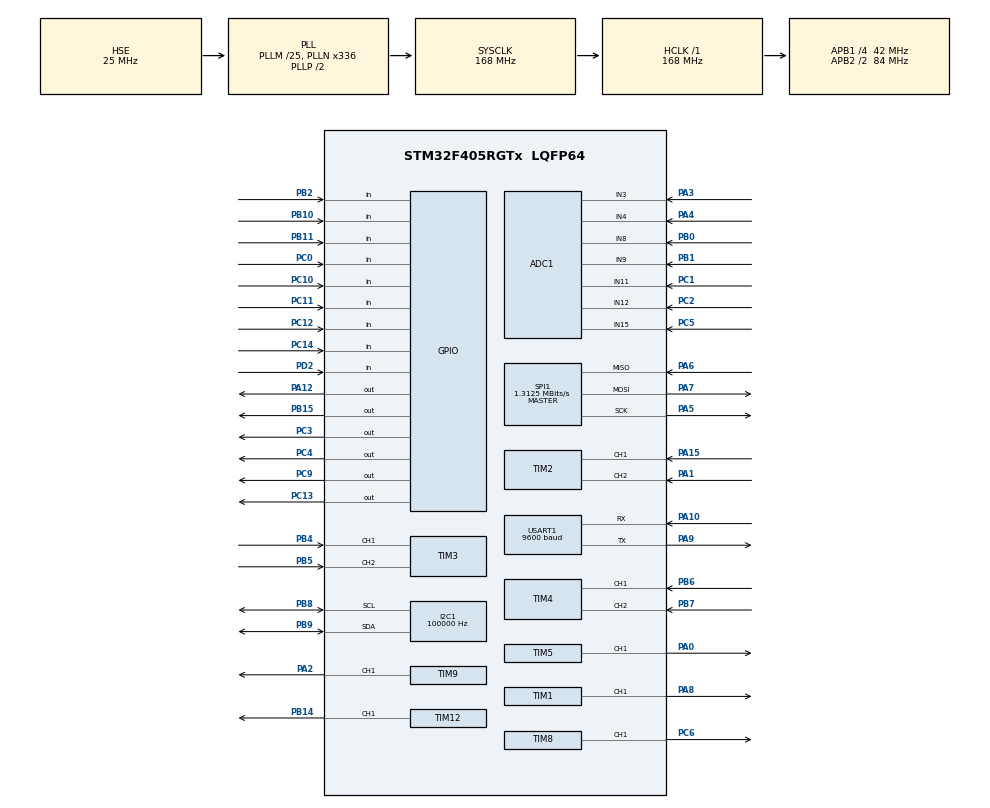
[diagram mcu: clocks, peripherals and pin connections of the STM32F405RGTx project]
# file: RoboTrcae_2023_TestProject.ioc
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ADC1.Channel-0\#ChannelRegularConversion=ADC_CHANNEL_3
ADC1.Channel-1\#ChannelRegularConversion=ADC_CHANNEL_4
ADC1.Channel-2\#ChannelRegularConversion=ADC_CHANNEL_8
ADC1.Channel-3\#ChannelRegularConversion=ADC_CHANNEL_9
ADC1.Channel-4\#ChannelRegularConversion=ADC_CHANNEL_12
ADC1.Channel-5\#ChannelRegularConversion=ADC_CHANNEL_15
ADC1.ContinuousConvMode=ENABLE
ADC1.DMAContinuousRequests=ENABLE
ADC1.NbrOfConversion=6
ADC1.NbrOfConversionFlag=1
ADC1.Rank-0\#ChannelRegularConversion=1
ADC1.Rank-1\#ChannelRegularConversion=2
ADC1.Rank-2\#ChannelRegularConversion=3
ADC1.Rank-3\#ChannelRegularConversion=4
ADC1.Rank-4\#ChannelRegularConversion=5
ADC1.Rank-5\#ChannelRegularConversion=6
ADC1.SamplingTime-0\#ChannelRegularConversion=ADC_SAMPLETIME_15CYCLES
ADC1.SamplingTime-1\#ChannelRegularConversion=ADC_SAMPLETIME_15CYCLES
ADC1.SamplingTime-2\#ChannelRegularConversion=ADC_SAMPLETIME_15CYCLES
ADC1.SamplingTime-3\#ChannelRegularConversion=ADC_SAMPLETIME_15CYCLES
ADC1.SamplingTime-4\#ChannelRegularConversion=ADC_SAMPLETIME_15CYCLES
ADC1.SamplingTime-5\#ChannelRegularConversion=ADC_SAMPLETIME_15CYCLES
ADC1.master=1
Dma.ADC1.0.Direction=DMA_PERIPH_TO_MEMORY
Dma.ADC1.0.FIFOMode=DMA_FIFOMODE_DISABLE
Dma.ADC1.0.Instance=DMA2_Stream0
Dma.ADC1.0.MemDataAlignment=DMA_MDATAALIGN_HALFWORD
Dma.ADC1.0.MemInc=DMA_MINC_ENABLE
Dma.ADC1.0.Mode=DMA_CIRCULAR
Dma.ADC1.0.PeriphDataAlignment=DMA_PDATAALIGN_HALFWORD
Dma.ADC1.0.PeriphInc=DMA_PINC_DISABLE
Dma.ADC1.0.Priority=DMA_PRIORITY_LOW
Dma.Request0=ADC1
I2C1.ClockSpeed=100000
I2C1.NoStretchMode=I2C_NOSTRETCH_ENABLE
Mcu.Family=STM32F4
Mcu.Name=STM32F405RGTx
Mcu.Package=LQFP64
NVIC.DMA2_Stream0_IRQn=true\:0\:0\:false\:false\:true\:false\:true
NVIC.PriorityGroup=NVIC_PRIORITYGROUP_4
NVIC.TIM1_BRK_TIM9_IRQn=true\:0\:0\:false\:false\:true\:true\:true
NVIC.TIM6_DAC_IRQn=true\:0\:0\:false\:false\:true\:true\:true
NVIC.TIM7_IRQn=true\:0\:0\:false\:false\:true\:true\:true
NVIC.USART1_IRQn=true\:0\:0\:false\:false\:true\:true\:true
PA0-WKUP.Signal=S_TIM5_CH1
PA1.Signal=S_TIM2_CH2
PA10.Mode=Asynchronous
PA10.Signal=USART1_RX
PA12.Signal=GPIO_Output
PA13.Mode=Trace_Asynchronous_SW
PA13.Signal=SYS_JTMS-SWDIO
PA14.Mode=Trace_Asynchronous_SW
PA14.Signal=SYS_JTCK-SWCLK
PA15.Signal=S_TIM2_CH1_ETR
PA2.Signal=S_TIM9_CH1
PA3.Signal=ADCx_IN3
PA4.Signal=ADCx_IN4
PA5.Mode=Full_Duplex_Master
PA5.Signal=SPI1_SCK
PA6.Mode=Full_Duplex_Master
PA6.Signal=SPI1_MISO
PA7.Mode=Full_Duplex_Master
PA7.Signal=SPI1_MOSI
PA8.Signal=S_TIM1_CH1
PA9.Mode=Asynchronous
PA9.Signal=USART1_TX
PB0.Signal=ADCx_IN8
PB1.Signal=ADCx_IN9
PB10.Signal=GPIO_Input
PB11.Signal=GPIO_Input
PB14.Signal=S_TIM12_CH1
PB15.Signal=GPIO_Output
PB2.Signal=GPIO_Input
PB3.Mode=Trace_Asynchronous_SW
PB3.Signal=SYS_JTDO-SWO
PB4.Signal=S_TIM3_CH1
PB5.Signal=S_TIM3_CH2
PB6.Signal=S_TIM4_CH1
PB7.Signal=S_TIM4_CH2
PB8.Mode=I2C
PB8.Signal=I2C1_SCL
PB9.Mode=I2C
PB9.Signal=I2C1_SDA
PC0.Signal=GPIO_Input
PC1.Signal=ADCx_IN11
PC10.Signal=GPIO_Input
PC11.Signal=GPIO_Input
PC12.Signal=GPIO_Input
PC13-ANTI_TAMP.Signal=GPIO_Output
PC14-OSC32_IN.Signal=GPIO_Input
PC2.Signal=ADCx_IN12
PC3.Signal=GPIO_Output
PC4.Signal=GPIO_Output
PC5.Signal=ADCx_IN15
PC6.Signal=S_TIM8_CH1
PC9.Signal=GPIO_Output
PD2.Signal=GPIO_Input
PH0-OSC_IN.Mode=HSE-External-Oscillator
PH0-OSC_IN.Signal=RCC_OSC_IN
PH1-OSC_OUT.Mode=HSE-External-Oscillator
PH1-OSC_OUT.Signal=RCC_OSC_OUT
ProjectManager.HeapSize=0x200
ProjectManager.StackSize=0x400
ProjectManager.TargetToolchain=STM32CubeIDE
RCC.48MHZClocksFreq_Value=84000000
RCC.AHBFreq_Value=168000000
RCC.APB1CLKDivider=RCC_HCLK_DIV4
RCC.APB1Freq_Value=42000000
RCC.APB1TimFreq_Value=84000000
RCC.APB2CLKDivider=RCC_HCLK_DIV2
RCC.APB2Freq_Value=84000000
RCC.APB2TimFreq_Value=168000000
RCC.CortexFreq_Value=168000000
RCC.HCLKFreq_Value=168000000
RCC.HSE_VALUE=25000000
RCC.HSI_VALUE=16000000
RCC.LSE_VALUE=32768
RCC.PLLM=25
RCC.PLLN=336
RCC.PLLSourceVirtual=RCC_PLLSOURCE_HSE
RCC.SYSCLKFreq_VALUE=168000000
RCC.SYSCLKSource=RCC_SYSCLKSOURCE_PLLCLK
RCC.VCOOutputFreq_Value=336000000
SH.ADCx_IN11.0=ADC1_IN11,IN11
SH.ADCx_IN12.0=ADC1_IN12,IN12
SH.ADCx_IN15.0=ADC1_IN15,IN15
SH.ADCx_IN3.0=ADC1_IN3,IN3
SH.ADCx_IN4.0=ADC1_IN4,IN4
SH.ADCx_IN8.0=ADC1_IN8,IN8
SH.ADCx_IN9.0=ADC1_IN9,IN9
SH.S_TIM12_CH1.0=TIM12_CH1,PWM Generation1 CH1
SH.S_TIM1_CH1.0=TIM1_CH1,PWM Generation1 CH1
SH.S_TIM2_CH1_ETR.0=TIM2_CH1,Encoder_Interface
SH.S_TIM2_CH2.0=TIM2_CH2,Encoder_Interface
SH.S_TIM3_CH1.0=TIM3_CH1,Encoder_Interface
SH.S_TIM3_CH2.0=TIM3_CH2,Encoder_Interface
SH.S_TIM4_CH1.0=TIM4_CH1,Encoder_Interface
SH.S_TIM4_CH2.0=TIM4_CH2,Encoder_Interface
SH.S_TIM5_CH1.0=TIM5_CH1,PWM Generation1 CH1
SH.S_TIM8_CH1.0=TIM8_CH1,PWM Generation1 CH1
SH.S_TIM9_CH1.0=TIM9_CH1,PWM Generation1 CH1
SPI1.BaudRatePrescaler=SPI_BAUDRATEPRESCALER_64
SPI1.CLKPhase=SPI_PHASE_2EDGE
SPI1.CLKPolarity=SPI_POLARITY_HIGH
SPI1.CalculateBaudRate=1.3125 MBits/s
SPI1.Direction=SPI_DIRECTION_2LINES
SPI1.Mode=SPI_MODE_MASTER
SPI1.VirtualType=VM_MASTER
TIM1.Channel-PWM\ Generation1\ CH1=TIM_CHANNEL_1
TIM1.Period=9
TIM1.Prescaler=83
TIM12.Channel-PWM\ Generation1\ CH1=TIM_CHANNEL_1
TIM12.Period=19
TIM12.Prescaler=41
TIM2.EncoderMode=TIM_ENCODERMODE_TI12
TIM3.EncoderMode=TIM_ENCODERMODE_TI12
TIM4.EncoderMode=TIM_ENCODERMODE_TI12
TIM5.Channel-PWM\ Generation1\ CH1=TIM_CHANNEL_1
TIM5.Period=19
TIM5.Prescaler=20
TIM6.Period=49
TIM6.Prescaler=83
TIM7.Period=499
TIM7.Prescaler=83
TIM8.Channel-PWM\ Generation1\ CH1=TIM_CHANNEL_1
TIM8.Period=9
TIM8.Prescaler=83
TIM9.Channel-PWM\ Generation1\ CH1=TIM_CHANNEL_1
TIM9.Period=19
TIM9.Prescaler=83
USART1.BaudRate=9600
USART1.VirtualMode=VM_ASYNC
VP_RTC_VS_RTC_Activate.Mode=RTC_Enabled
VP_TIM10_VS_ClockSourceINT.Mode=Enable_Timer
VP_TIM11_VS_ClockSourceINT.Mode=Enable_Timer
VP_TIM6_VS_ClockSourceINT.Mode=Enable_Timer
VP_TIM7_VS_ClockSourceINT.Mode=Enable_Timer
board=custom

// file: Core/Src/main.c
/* USER CODE BEGIN Header */
/**
  ******************************************************************************
  * @file           : main.c
  * @brief          : Main program body
  ******************************************************************************
  * @attention
  *
  * <h2><center>&copy; Copyright (c) 2023 STMicroelectronics.
  * All rights reserved.</center></h2>
  *
  * This software component is licensed by ST under BSD 3-Clause license,
  * the "License"; You may not use this file except in compliance with the
  * License. You may obtain a copy of the License at:
  *                        opensource.org/licenses/BSD-3-Clause
  *
  ******************************************************************************
  */
/* USER CODE END Header */
#include "main.h"

/* USER CODE BEGIN Includes */
#include "wrapper.h"
#include <stdio.h>
/* USER CODE END Includes */

ADC_HandleTypeDef hadc1;
DMA_HandleTypeDef hdma_adc1;

I2C_HandleTypeDef hi2c1;

RTC_HandleTypeDef hrtc;

SPI_HandleTypeDef hspi1;

TIM_HandleTypeDef htim1;
TIM_HandleTypeDef htim2;
TIM_HandleTypeDef htim3;
TIM_HandleTypeDef htim4;
TIM_HandleTypeDef htim5;
TIM_HandleTypeDef htim6;
TIM_HandleTypeDef htim7;
TIM_HandleTypeDef htim8;
TIM_HandleTypeDef htim9;
TIM_HandleTypeDef htim10;
TIM_HandleTypeDef htim11;
TIM_HandleTypeDef htim12;

UART_HandleTypeDef huart1;

void SystemClock_Config(void);
static void MX_GPIO_Init(void);
static void MX_DMA_Init(void);
static void MX_ADC1_Init(void);
static void MX_I2C1_Init(void);
static void MX_RTC_Init(void);
static void MX_SPI1_Init(void);
static void MX_TIM1_Init(void);
static void MX_TIM2_Init(void);
static void MX_TIM3_Init(void);
static void MX_TIM4_Init(void);
static void MX_TIM5_Init(void);
static void MX_TIM8_Init(void);
static void MX_TIM9_Init(void);
static void MX_TIM10_Init(void);
static void MX_TIM11_Init(void);
static void MX_TIM12_Init(void);
static void MX_USART1_UART_Init(void);
static void MX_TIM6_Init(void);
static void MX_TIM7_Init(void);
/* USER CODE BEGIN PFP */
int _write(int, char*, int);
/* USER CODE END PFP */

/* USER CODE BEGIN 0 */

const uint32_t start_address_sector10 = 0x80C0000;	//sector10 start address
const uint32_t end_address_sector10 = 0x80DFFFF;		//sector10 end address
const uint32_t start_address_sector11 = 0x80E0000;	//sector11 start address
const uint32_t end_address_sector11 = 0x80FFFFF;		//sector11 end address

WRITE_DATA_SECTOR11 write_data_sector11 = {{0}};
READ_DATA_SECTOR11 read_data_sector11 = {{0}};
WRITE_DATA_SECTOR10 write_data_sector10 = {{0}};
READ_DATA_SECTOR10 read_data_sector10 = {{0}};

int _write(int file, char *ptr, int len) {
	HAL_UART_Transmit(&huart1, (uint8_t*)ptr, len, 0xFFFF);
	return len;
}

/* USER CODE END 0 */

int main(void)
{

  /* MCU Configuration--------------------------------------------------------*/

  /* Reset of all peripherals, Initializes the Flash interface and the Systick. */
  HAL_Init();

  /* Configure the system clock */
  SystemClock_Config();

  /* Initialize all configured peripherals */
  MX_GPIO_Init();
  MX_DMA_Init();
  MX_ADC1_Init();
  MX_I2C1_Init();
  MX_RTC_Init();
  MX_SPI1_Init();
  MX_TIM1_Init();
  MX_TIM2_Init();
  MX_TIM3_Init();
  MX_TIM4_Init();
  MX_TIM5_Init();
  MX_TIM8_Init();
  MX_TIM9_Init();
  MX_TIM10_Init();
  MX_TIM11_Init();
  MX_TIM12_Init();
  MX_USART1_UART_Init();
  MX_TIM6_Init();
  MX_TIM7_Init();
  /* USER CODE BEGIN 2 */
  HAL_TIM_Base_Start_IT(&htim6);
  HAL_TIM_Base_Start_IT(&htim7);
  init();
  // reload flash data
  loadFlash(start_address_sector11, (uint8_t*)&read_data_sector11, sizeof(READ_DATA_SECTOR11));
  loadFlash(start_address_sector10, (uint8_t*)&read_data_sector10, sizeof(READ_DATA_SECTOR10));

  /* USER CODE END 2 */

  /* Infinite loop */
  /* USER CODE BEGIN WHILE */
  while (1)
  {
	  main_loop();
    /* USER CODE END WHILE */

  }
}

void SystemClock_Config(void)
{
  RCC_OscInitTypeDef RCC_OscInitStruct = {0};
  RCC_ClkInitTypeDef RCC_ClkInitStruct = {0};
  RCC_PeriphCLKInitTypeDef PeriphClkInitStruct = {0};

  /** Configure the main internal regulator output voltage
  */
  __HAL_RCC_PWR_CLK_ENABLE();
  __HAL_PWR_VOLTAGESCALING_CONFIG(PWR_REGULATOR_VOLTAGE_SCALE1);
  /** Initializes the RCC Oscillators according to the specified parameters
  * in the RCC_OscInitTypeDef structure.
  */
  RCC_OscInitStruct.OscillatorType = RCC_OSCILLATORTYPE_LSI|RCC_OSCILLATORTYPE_HSE;
  RCC_OscInitStruct.HSEState = RCC_HSE_ON;
  RCC_OscInitStruct.LSIState = RCC_LSI_ON;
  RCC_OscInitStruct.PLL.PLLState = RCC_PLL_ON;
  RCC_OscInitStruct.PLL.PLLSource = RCC_PLLSOURCE_HSE;
  RCC_OscInitStruct.PLL.PLLM = 25;
  RCC_OscInitStruct.PLL.PLLN = 336;
  RCC_OscInitStruct.PLL.PLLP = RCC_PLLP_DIV2;
  RCC_OscInitStruct.PLL.PLLQ = 4;
  if (HAL_RCC_OscConfig(&RCC_OscInitStruct) != HAL_OK)
  {
    Error_Handler();
  }
  /** Initializes the CPU, AHB and APB buses clocks
  */
  RCC_ClkInitStruct.ClockType = RCC_CLOCKTYPE_HCLK|RCC_CLOCKTYPE_SYSCLK
                              |RCC_CLOCKTYPE_PCLK1|RCC_CLOCKTYPE_PCLK2;
  RCC_ClkInitStruct.SYSCLKSource = RCC_SYSCLKSOURCE_PLLCLK;
  RCC_ClkInitStruct.AHBCLKDivider = RCC_SYSCLK_DIV1;
  RCC_ClkInitStruct.APB1CLKDivider = RCC_HCLK_DIV4;
  RCC_ClkInitStruct.APB2CLKDivider = RCC_HCLK_DIV2;

  if (HAL_RCC_ClockConfig(&RCC_ClkInitStruct, FLASH_LATENCY_5) != HAL_OK)
  {
    Error_Handler();
  }
  PeriphClkInitStruct.PeriphClockSelection = RCC_PERIPHCLK_RTC;
  PeriphClkInitStruct.RTCClockSelection = RCC_RTCCLKSOURCE_LSI;
  if (HAL_RCCEx_PeriphCLKConfig(&PeriphClkInitStruct) != HAL_OK)
  {
    Error_Handler();
  }
}

static void MX_ADC1_Init(void)
{

  ADC_ChannelConfTypeDef sConfig = {0};

  /** Configure the global features of the ADC (Clock, Resolution, Data Alignment and number of conversion)
  */
  hadc1.Instance = ADC1;
  hadc1.Init.ClockPrescaler = ADC_CLOCK_SYNC_PCLK_DIV4;
  hadc1.Init.Resolution = ADC_RESOLUTION_12B;
  hadc1.Init.ScanConvMode = ENABLE;
  hadc1.Init.ContinuousConvMode = ENABLE;
  hadc1.Init.DiscontinuousConvMode = DISABLE;
  hadc1.Init.ExternalTrigConvEdge = ADC_EXTERNALTRIGCONVEDGE_NONE;
  hadc1.Init.ExternalTrigConv = ADC_SOFTWARE_START;
  hadc1.Init.DataAlign = ADC_DATAALIGN_RIGHT;
  hadc1.Init.NbrOfConversion = 6;
  hadc1.Init.DMAContinuousRequests = ENABLE;
  hadc1.Init.EOCSelection = ADC_EOC_SINGLE_CONV;
  if (HAL_ADC_Init(&hadc1) != HAL_OK)
  {
    Error_Handler();
  }
  /** Configure for the selected ADC regular channel its corresponding rank in the sequencer and its sample time.
  */
  sConfig.Channel = ADC_CHANNEL_3;
  sConfig.Rank = 1;
  sConfig.SamplingTime = ADC_SAMPLETIME_15CYCLES;
  if (HAL_ADC_ConfigChannel(&hadc1, &sConfig) != HAL_OK)
  {
    Error_Handler();
  }
  /** Configure for the selected ADC regular channel its corresponding rank in the sequencer and its sample time.
  */
  sConfig.Channel = ADC_CHANNEL_4;
  sConfig.Rank = 2;
  if (HAL_ADC_ConfigChannel(&hadc1, &sConfig) != HAL_OK)
  {
    Error_Handler();
  }
  /** Configure for the selected ADC regular channel its corresponding rank in the sequencer and its sample time.
  */
  sConfig.Channel = ADC_CHANNEL_8;
  sConfig.Rank = 3;
  if (HAL_ADC_ConfigChannel(&hadc1, &sConfig) != HAL_OK)
  {
    Error_Handler();
  }
  /** Configure for the selected ADC regular channel its corresponding rank in the sequencer and its sample time.
  */
  sConfig.Channel = ADC_CHANNEL_9;
  sConfig.Rank = 4;
  if (HAL_ADC_ConfigChannel(&hadc1, &sConfig) != HAL_OK)
  {
    Error_Handler();
  }
  /** Configure for the selected ADC regular channel its corresponding rank in the sequencer and its sample time.
  */
  sConfig.Channel = ADC_CHANNEL_12;
  sConfig.Rank = 5;
  if (HAL_ADC_ConfigChannel(&hadc1, &sConfig) != HAL_OK)
  {
    Error_Handler();
  }
  /** Configure for the selected ADC regular channel its corresponding rank in the sequencer and its sample time.
  */
  sConfig.Channel = ADC_CHANNEL_15;
  sConfig.Rank = 6;
  if (HAL_ADC_ConfigChannel(&hadc1, &sConfig) != HAL_OK)
  {
    Error_Handler();
  }

}

static void MX_I2C1_Init(void)
{

  hi2c1.Instance = I2C1;
  hi2c1.Init.ClockSpeed = 100000;
  hi2c1.Init.DutyCycle = I2C_DUTYCYCLE_2;
  hi2c1.Init.OwnAddress1 = 0;
  hi2c1.Init.AddressingMode = I2C_ADDRESSINGMODE_7BIT;
  hi2c1.Init.DualAddressMode = I2C_DUALADDRESS_DISABLE;
  hi2c1.Init.OwnAddress2 = 0;
  hi2c1.Init.GeneralCallMode = I2C_GENERALCALL_DISABLE;
  hi2c1.Init.NoStretchMode = I2C_NOSTRETCH_ENABLE;
  if (HAL_I2C_Init(&hi2c1) != HAL_OK)
  {
    Error_Handler();
  }

}

static void MX_RTC_Init(void)
{

  /** Initialize RTC Only
  */
  hrtc.Instance = RTC;
  hrtc.Init.HourFormat = RTC_HOURFORMAT_24;
  hrtc.Init.AsynchPrediv = 127;
  hrtc.Init.SynchPrediv = 255;
  hrtc.Init.OutPut = RTC_OUTPUT_DISABLE;
  hrtc.Init.OutPutPolarity = RTC_OUTPUT_POLARITY_HIGH;
  hrtc.Init.OutPutType = RTC_OUTPUT_TYPE_OPENDRAIN;
  if (HAL_RTC_Init(&hrtc) != HAL_OK)
  {
    Error_Handler();
  }

}

static void MX_SPI1_Init(void)
{

  /* SPI1 parameter configuration*/
  hspi1.Instance = SPI1;
  hspi1.Init.Mode = SPI_MODE_MASTER;
  hspi1.Init.Direction = SPI_DIRECTION_2LINES;
  hspi1.Init.DataSize = SPI_DATASIZE_8BIT;
  hspi1.Init.CLKPolarity = SPI_POLARITY_HIGH;
  hspi1.Init.CLKPhase = SPI_PHASE_2EDGE;
  hspi1.Init.NSS = SPI_NSS_SOFT;
  hspi1.Init.BaudRatePrescaler = SPI_BAUDRATEPRESCALER_64;
  hspi1.Init.FirstBit = SPI_FIRSTBIT_MSB;
  hspi1.Init.TIMode = SPI_TIMODE_DISABLE;
  hspi1.Init.CRCCalculation = SPI_CRCCALCULATION_DISABLE;
  hspi1.Init.CRCPolynomial = 10;
  if (HAL_SPI_Init(&hspi1) != HAL_OK)
  {
    Error_Handler();
  }

}

static void MX_TIM1_Init(void)
{

  TIM_MasterConfigTypeDef sMasterConfig = {0};
  TIM_OC_InitTypeDef sConfigOC = {0};
  TIM_BreakDeadTimeConfigTypeDef sBreakDeadTimeConfig = {0};

  htim1.Instance = TIM1;
  htim1.Init.Prescaler = 83;
  htim1.Init.CounterMode = TIM_COUNTERMODE_UP;
  htim1.Init.Period = 9;
  htim1.Init.ClockDivision = TIM_CLOCKDIVISION_DIV1;
  htim1.Init.RepetitionCounter = 0;
  htim1.Init.AutoReloadPreload = TIM_AUTORELOAD_PRELOAD_DISABLE;
  if (HAL_TIM_PWM_Init(&htim1) != HAL_OK)
  {
    Error_Handler();
  }
  sMasterConfig.MasterOutputTrigger = TIM_TRGO_RESET;
  sMasterConfig.MasterSlaveMode = TIM_MASTERSLAVEMODE_DISABLE;
  if (HAL_TIMEx_MasterConfigSynchronization(&htim1, &sMasterConfig) != HAL_OK)
  {
    Error_Handler();
  }
  sConfigOC.OCMode = TIM_OCMODE_PWM1;
  sConfigOC.Pulse = 0;
  sConfigOC.OCPolarity = TIM_OCPOLARITY_HIGH;
  sConfigOC.OCNPolarity = TIM_OCNPOLARITY_HIGH;
  sConfigOC.OCFastMode = TIM_OCFAST_DISABLE;
  sConfigOC.OCIdleState = TIM_OCIDLESTATE_RESET;
  sConfigOC.OCNIdleState = TIM_OCNIDLESTATE_RESET;
  if (HAL_TIM_PWM_ConfigChannel(&htim1, &sConfigOC, TIM_CHANNEL_1) != HAL_OK)
  {
    Error_Handler();
  }
  sBreakDeadTimeConfig.OffStateRunMode = TIM_OSSR_DISABLE;
  sBreakDeadTimeConfig.OffStateIDLEMode = TIM_OSSI_DISABLE;
  sBreakDeadTimeConfig.LockLevel = TIM_LOCKLEVEL_OFF;
  sBreakDeadTimeConfig.DeadTime = 0;
  sBreakDeadTimeConfig.BreakState = TIM_BREAK_DISABLE;
  sBreakDeadTimeConfig.BreakPolarity = TIM_BREAKPOLARITY_HIGH;
  sBreakDeadTimeConfig.AutomaticOutput = TIM_AUTOMATICOUTPUT_DISABLE;
  if (HAL_TIMEx_ConfigBreakDeadTime(&htim1, &sBreakDeadTimeConfig) != HAL_OK)
  {
    Error_Handler();
  }
  HAL_TIM_MspPostInit(&htim1);

}

static void MX_TIM2_Init(void)
{

  TIM_Encoder_InitTypeDef sConfig = {0};
  TIM_MasterConfigTypeDef sMasterConfig = {0};

  htim2.Instance = TIM2;
  htim2.Init.Prescaler = 0;
  htim2.Init.CounterMode = TIM_COUNTERMODE_UP;
  htim2.Init.Period = 4294967295;
  htim2.Init.ClockDivision = TIM_CLOCKDIVISION_DIV1;
  htim2.Init.AutoReloadPreload = TIM_AUTORELOAD_PRELOAD_DISABLE;
  sConfig.EncoderMode = TIM_ENCODERMODE_TI12;
  sConfig.IC1Polarity = TIM_ICPOLARITY_RISING;
  sConfig.IC1Selection = TIM_ICSELECTION_DIRECTTI;
  sConfig.IC1Prescaler = TIM_ICPSC_DIV1;
  sConfig.IC1Filter = 0;
  sConfig.IC2Polarity = TIM_ICPOLARITY_RISING;
  sConfig.IC2Selection = TIM_ICSELECTION_DIRECTTI;
  sConfig.IC2Prescaler = TIM_ICPSC_DIV1;
  sConfig.IC2Filter = 0;
  if (HAL_TIM_Encoder_Init(&htim2, &sConfig) != HAL_OK)
  {
    Error_Handler();
  }
  sMasterConfig.MasterOutputTrigger = TIM_TRGO_RESET;
  sMasterConfig.MasterSlaveMode = TIM_MASTERSLAVEMODE_DISABLE;
  if (HAL_TIMEx_MasterConfigSynchronization(&htim2, &sMasterConfig) != HAL_OK)
  {
    Error_Handler();
  }

}

static void MX_TIM3_Init(void)
{

  TIM_Encoder_InitTypeDef sConfig = {0};
  TIM_MasterConfigTypeDef sMasterConfig = {0};

  htim3.Instance = TIM3;
  htim3.Init.Prescaler = 0;
  htim3.Init.CounterMode = TIM_COUNTERMODE_UP;
  htim3.Init.Period = 65535;
  htim3.Init.ClockDivision = TIM_CLOCKDIVISION_DIV1;
  htim3.Init.AutoReloadPreload = TIM_AUTORELOAD_PRELOAD_DISABLE;
  sConfig.EncoderMode = TIM_ENCODERMODE_TI12;
  sConfig.IC1Polarity = TIM_ICPOLARITY_RISING;
  sConfig.IC1Selection = TIM_ICSELECTION_DIRECTTI;
  sConfig.IC1Prescaler = TIM_ICPSC_DIV1;
  sConfig.IC1Filter = 0;
  sConfig.IC2Polarity = TIM_ICPOLARITY_RISING;
  sConfig.IC2Selection = TIM_ICSELECTION_DIRECTTI;
  sConfig.IC2Prescaler = TIM_ICPSC_DIV1;
  sConfig.IC2Filter = 0;
  if (HAL_TIM_Encoder_Init(&htim3, &sConfig) != HAL_OK)
  {
    Error_Handler();
  }
  sMasterConfig.MasterOutputTrigger = TIM_TRGO_RESET;
  sMasterConfig.MasterSlaveMode = TIM_MASTERSLAVEMODE_DISABLE;
  if (HAL_TIMEx_MasterConfigSynchronization(&htim3, &sMasterConfig) != HAL_OK)
  {
    Error_Handler();
  }

}

static void MX_TIM4_Init(void)
{

  TIM_Encoder_InitTypeDef sConfig = {0};
  TIM_MasterConfigTypeDef sMasterConfig = {0};

  htim4.Instance = TIM4;
  htim4.Init.Prescaler = 0;
  htim4.Init.CounterMode = TIM_COUNTERMODE_UP;
  htim4.Init.Period = 65535;
  htim4.Init.ClockDivision = TIM_CLOCKDIVISION_DIV1;
  htim4.Init.AutoReloadPreload = TIM_AUTORELOAD_PRELOAD_DISABLE;
  sConfig.EncoderMode = TIM_ENCODERMODE_TI12;
  sConfig.IC1Polarity = TIM_ICPOLARITY_RISING;
  sConfig.IC1Selection = TIM_ICSELECTION_DIRECTTI;
  sConfig.IC1Prescaler = TIM_ICPSC_DIV1;
  sConfig.IC1Filter = 0;
  sConfig.IC2Polarity = TIM_ICPOLARITY_RISING;
  sConfig.IC2Selection = TIM_ICSELECTION_DIRECTTI;
  sConfig.IC2Prescaler = TIM_ICPSC_DIV1;
  sConfig.IC2Filter = 0;
  if (HAL_TIM_Encoder_Init(&htim4, &sConfig) != HAL_OK)
  {
    Error_Handler();
  }
  sMasterConfig.MasterOutputTrigger = TIM_TRGO_RESET;
  sMasterConfig.MasterSlaveMode = TIM_MASTERSLAVEMODE_DISABLE;
  if (HAL_TIMEx_MasterConfigSynchronization(&htim4, &sMasterConfig) != HAL_OK)
  {
    Error_Handler();
  }

}

static void MX_TIM5_Init(void)
{

  TIM_MasterConfigTypeDef sMasterConfig = {0};
  TIM_OC_InitTypeDef sConfigOC = {0};

  htim5.Instance = TIM5;
  htim5.Init.Prescaler = 20;
  htim5.Init.CounterMode = TIM_COUNTERMODE_UP;
  htim5.Init.Period = 19;
  htim5.Init.ClockDivision = TIM_CLOCKDIVISION_DIV1;
  htim5.Init.AutoReloadPreload = TIM_AUTORELOAD_PRELOAD_DISABLE;
  if (HAL_TIM_PWM_Init(&htim5) != HAL_OK)
  {
    Error_Handler();
  }
  sMasterConfig.MasterOutputTrigger = TIM_TRGO_RESET;
  sMasterConfig.MasterSlaveMode = TIM_MASTERSLAVEMODE_DISABLE;
  if (HAL_TIMEx_MasterConfigSynchronization(&htim5, &sMasterConfig) != HAL_OK)
  {
    Error_Handler();
  }
  sConfigOC.OCMode = TIM_OCMODE_PWM1;
  sConfigOC.Pulse = 0;
  sConfigOC.OCPolarity = TIM_OCPOLARITY_HIGH;
  sConfigOC.OCFastMode = TIM_OCFAST_DISABLE;
  if (HAL_TIM_PWM_ConfigChannel(&htim5, &sConfigOC, TIM_CHANNEL_1) != HAL_OK)
  {
    Error_Handler();
  }
  HAL_TIM_MspPostInit(&htim5);

}

static void MX_TIM6_Init(void)
{

  TIM_MasterConfigTypeDef sMasterConfig = {0};

  htim6.Instance = TIM6;
  htim6.Init.Prescaler = 83;
  htim6.Init.CounterMode = TIM_COUNTERMODE_UP;
  htim6.Init.Period = 49;
  htim6.Init.AutoReloadPreload = TIM_AUTORELOAD_PRELOAD_DISABLE;
  if (HAL_TIM_Base_Init(&htim6) != HAL_OK)
  {
    Error_Handler();
  }
  sMasterConfig.MasterOutputTrigger = TIM_TRGO_RESET;
  sMasterConfig.MasterSlaveMode = TIM_MASTERSLAVEMODE_DISABLE;
  if (HAL_TIMEx_MasterConfigSynchronization(&htim6, &sMasterConfig) != HAL_OK)
  {
    Error_Handler();
  }

}

static void MX_TIM7_Init(void)
{

  TIM_MasterConfigTypeDef sMasterConfig = {0};

  htim7.Instance = TIM7;
  htim7.Init.Prescaler = 83;
  htim7.Init.CounterMode = TIM_COUNTERMODE_UP;
  htim7.Init.Period = 499;
  htim7.Init.AutoReloadPreload = TIM_AUTORELOAD_PRELOAD_DISABLE;
  if (HAL_TIM_Base_Init(&htim7) != HAL_OK)
  {
    Error_Handler();
  }
  sMasterConfig.MasterOutputTrigger = TIM_TRGO_RESET;
  sMasterConfig.MasterSlaveMode = TIM_MASTERSLAVEMODE_DISABLE;
  if (HAL_TIMEx_MasterConfigSynchronization(&htim7, &sMasterConfig) != HAL_OK)
  {
    Error_Handler();
  }

}

static void MX_TIM8_Init(void)
{

  TIM_MasterConfigTypeDef sMasterConfig = {0};
  TIM_OC_InitTypeDef sConfigOC = {0};
  TIM_BreakDeadTimeConfigTypeDef sBreakDeadTimeConfig = {0};

  htim8.Instance = TIM8;
  htim8.Init.Prescaler = 83;
  htim8.Init.CounterMode = TIM_COUNTERMODE_UP;
  htim8.Init.Period = 9;
  htim8.Init.ClockDivision = TIM_CLOCKDIVISION_DIV1;
  htim8.Init.RepetitionCounter = 0;
  htim8.Init.AutoReloadPreload = TIM_AUTORELOAD_PRELOAD_DISABLE;
  if (HAL_TIM_PWM_Init(&htim8) != HAL_OK)
  {
    Error_Handler();
  }
  sMasterConfig.MasterOutputTrigger = TIM_TRGO_RESET;
  sMasterConfig.MasterSlaveMode = TIM_MASTERSLAVEMODE_DISABLE;
  if (HAL_TIMEx_MasterConfigSynchronization(&htim8, &sMasterConfig) != HAL_OK)
  {
    Error_Handler();
  }
  sConfigOC.OCMode = TIM_OCMODE_PWM1;
  sConfigOC.Pulse = 0;
  sConfigOC.OCPolarity = TIM_OCPOLARITY_HIGH;
  sConfigOC.OCNPolarity = TIM_OCNPOLARITY_HIGH;
  sConfigOC.OCFastMode = TIM_OCFAST_DISABLE;
  sConfigOC.OCIdleState = TIM_OCIDLESTATE_RESET;
  sConfigOC.OCNIdleState = TIM_OCNIDLESTATE_RESET;
  if (HAL_TIM_PWM_ConfigChannel(&htim8, &sConfigOC, TIM_CHANNEL_1) != HAL_OK)
  {
    Error_Handler();
  }
  sBreakDeadTimeConfig.OffStateRunMode = TIM_OSSR_DISABLE;
  sBreakDeadTimeConfig.OffStateIDLEMode = TIM_OSSI_DISABLE;
  sBreakDeadTimeConfig.LockLevel = TIM_LOCKLEVEL_OFF;
  sBreakDeadTimeConfig.DeadTime = 0;
  sBreakDeadTimeConfig.BreakState = TIM_BREAK_DISABLE;
  sBreakDeadTimeConfig.BreakPolarity = TIM_BREAKPOLARITY_HIGH;
  sBreakDeadTimeConfig.AutomaticOutput = TIM_AUTOMATICOUTPUT_DISABLE;
  if (HAL_TIMEx_ConfigBreakDeadTime(&htim8, &sBreakDeadTimeConfig) != HAL_OK)
  {
    Error_Handler();
  }
  HAL_TIM_MspPostInit(&htim8);

}

static void MX_TIM9_Init(void)
{

  TIM_OC_InitTypeDef sConfigOC = {0};

  htim9.Instance = TIM9;
  htim9.Init.Prescaler = 83;
  htim9.Init.CounterMode = TIM_COUNTERMODE_UP;
  htim9.Init.Period = 19;
  htim9.Init.ClockDivision = TIM_CLOCKDIVISION_DIV1;
  htim9.Init.AutoReloadPreload = TIM_AUTORELOAD_PRELOAD_DISABLE;
  if (HAL_TIM_PWM_Init(&htim9) != HAL_OK)
  {
    Error_Handler();
  }
  sConfigOC.OCMode = TIM_OCMODE_PWM1;
  sConfigOC.Pulse = 0;
  sConfigOC.OCPolarity = TIM_OCPOLARITY_HIGH;
  sConfigOC.OCFastMode = TIM_OCFAST_DISABLE;
  if (HAL_TIM_PWM_ConfigChannel(&htim9, &sConfigOC, TIM_CHANNEL_1) != HAL_OK)
  {
    Error_Handler();
  }
  HAL_TIM_MspPostInit(&htim9);

}

static void MX_TIM10_Init(void)
{

  htim10.Instance = TIM10;
  htim10.Init.Prescaler = 0;
  htim10.Init.CounterMode = TIM_COUNTERMODE_UP;
  htim10.Init.Period = 65535;
  htim10.Init.ClockDivision = TIM_CLOCKDIVISION_DIV1;
  htim10.Init.AutoReloadPreload = TIM_AUTORELOAD_PRELOAD_DISABLE;
  if (HAL_TIM_Base_Init(&htim10) != HAL_OK)
  {
    Error_Handler();
  }

}

static void MX_TIM11_Init(void)
{

  htim11.Instance = TIM11;
  htim11.Init.Prescaler = 0;
  htim11.Init.CounterMode = TIM_COUNTERMODE_UP;
  htim11.Init.Period = 65535;
  htim11.Init.ClockDivision = TIM_CLOCKDIVISION_DIV1;
  htim11.Init.AutoReloadPreload = TIM_AUTORELOAD_PRELOAD_DISABLE;
  if (HAL_TIM_Base_Init(&htim11) != HAL_OK)
  {
    Error_Handler();
  }

}

static void MX_TIM12_Init(void)
{

  TIM_OC_InitTypeDef sConfigOC = {0};

  htim12.Instance = TIM12;
  htim12.Init.Prescaler = 41;
  htim12.Init.CounterMode = TIM_COUNTERMODE_UP;
  htim12.Init.Period = 19;
  htim12.Init.ClockDivision = TIM_CLOCKDIVISION_DIV1;
  htim12.Init.AutoReloadPreload = TIM_AUTORELOAD_PRELOAD_DISABLE;
  if (HAL_TIM_PWM_Init(&htim12) != HAL_OK)
  {
    Error_Handler();
  }
  sConfigOC.OCMode = TIM_OCMODE_PWM1;
  sConfigOC.Pulse = 0;
  sConfigOC.OCPolarity = TIM_OCPOLARITY_HIGH;
  sConfigOC.OCFastMode = TIM_OCFAST_DISABLE;
  if (HAL_TIM_PWM_ConfigChannel(&htim12, &sConfigOC, TIM_CHANNEL_1) != HAL_OK)
  {
    Error_Handler();
  }
  HAL_TIM_MspPostInit(&htim12);

}

static void MX_USART1_UART_Init(void)
{

  huart1.Instance = USART1;
  huart1.Init.BaudRate = 9600;
  huart1.Init.WordLength = UART_WORDLENGTH_8B;
  huart1.Init.StopBits = UART_STOPBITS_1;
  huart1.Init.Parity = UART_PARITY_NONE;
  huart1.Init.Mode = UART_MODE_TX_RX;
  huart1.Init.HwFlowCtl = UART_HWCONTROL_NONE;
  huart1.Init.OverSampling = UART_OVERSAMPLING_16;
  if (HAL_UART_Init(&huart1) != HAL_OK)
  {
    Error_Handler();
  }

}

static void MX_DMA_Init(void)
{

  /* DMA controller clock enable */
  __HAL_RCC_DMA2_CLK_ENABLE();

  /* DMA interrupt init */
  /* DMA2_Stream0_IRQn interrupt configuration */
  HAL_NVIC_SetPriority(DMA2_Stream0_IRQn, 0, 0);
  HAL_NVIC_EnableIRQ(DMA2_Stream0_IRQn);

}

static void MX_GPIO_Init(void)
{
  GPIO_InitTypeDef GPIO_InitStruct = {0};

  /* GPIO Ports Clock Enable */
  __HAL_RCC_GPIOC_CLK_ENABLE();
  __HAL_RCC_GPIOH_CLK_ENABLE();
  __HAL_RCC_GPIOA_CLK_ENABLE();
  __HAL_RCC_GPIOB_CLK_ENABLE();
  __HAL_RCC_GPIOD_CLK_ENABLE();

  /*Configure GPIO pin Output Level */
  HAL_GPIO_WritePin(GPIOC, GPIO_PIN_13|GPIO_PIN_3|GPIO_PIN_4|GPIO_PIN_9, GPIO_PIN_RESET);

  /*Configure GPIO pin Output Level */
  HAL_GPIO_WritePin(GPIOB, GPIO_PIN_15, GPIO_PIN_RESET);

  /*Configure GPIO pin Output Level */
  HAL_GPIO_WritePin(GPIOA, GPIO_PIN_12, GPIO_PIN_RESET);

  /*Configure GPIO pins : PC13 PC3 PC4 PC9 */
  GPIO_InitStruct.Pin = GPIO_PIN_13|GPIO_PIN_3|GPIO_PIN_4|GPIO_PIN_9;
  GPIO_InitStruct.Mode = GPIO_MODE_OUTPUT_PP;
  GPIO_InitStruct.Pull = GPIO_NOPULL;
  GPIO_InitStruct.Speed = GPIO_SPEED_FREQ_LOW;
  HAL_GPIO_Init(GPIOC, &GPIO_InitStruct);

  /*Configure GPIO pins : PC14 PC0 PC10 PC11
                           PC12 */
  GPIO_InitStruct.Pin = GPIO_PIN_14|GPIO_PIN_0|GPIO_PIN_10|GPIO_PIN_11
                          |GPIO_PIN_12;
  GPIO_InitStruct.Mode = GPIO_MODE_INPUT;
  GPIO_InitStruct.Pull = GPIO_NOPULL;
  HAL_GPIO_Init(GPIOC, &GPIO_InitStruct);

  /*Configure GPIO pins : PB2 PB10 PB11 */
  GPIO_InitStruct.Pin = GPIO_PIN_2|GPIO_PIN_10|GPIO_PIN_11;
  GPIO_InitStruct.Mode = GPIO_MODE_INPUT;
  GPIO_InitStruct.Pull = GPIO_NOPULL;
  HAL_GPIO_Init(GPIOB, &GPIO_InitStruct);

  /*Configure GPIO pin : PB15 */
  GPIO_InitStruct.Pin = GPIO_PIN_15;
  GPIO_InitStruct.Mode = GPIO_MODE_OUTPUT_PP;
  GPIO_InitStruct.Pull = GPIO_NOPULL;
  GPIO_InitStruct.Speed = GPIO_SPEED_FREQ_LOW;
  HAL_GPIO_Init(GPIOB, &GPIO_InitStruct);

  /*Configure GPIO pin : PA12 */
  GPIO_InitStruct.Pin = GPIO_PIN_12;
  GPIO_InitStruct.Mode = GPIO_MODE_OUTPUT_PP;
  GPIO_InitStruct.Pull = GPIO_NOPULL;
  GPIO_InitStruct.Speed = GPIO_SPEED_FREQ_LOW;
  HAL_GPIO_Init(GPIOA, &GPIO_InitStruct);

  /*Configure GPIO pin : PD2 */
  GPIO_InitStruct.Pin = GPIO_PIN_2;
  GPIO_InitStruct.Mode = GPIO_MODE_INPUT;
  GPIO_InitStruct.Pull = GPIO_NOPULL;
  HAL_GPIO_Init(GPIOD, &GPIO_InitStruct);

}

/* USER CODE BEGIN 4 */
void HAL_TIM_PeriodElapsedCallback(TIM_HandleTypeDef *htim)
{
	// TIM6
	if (htim->Instance == TIM6)
	{
		PeriodElapsed_005ms();
	}
	// TIM7
	if (htim->Instance == TIM7)
	{
		PeriodElapsed_05ms();
	}
}
/* USER CODE END 4 */

void Error_Handler(void)
{
  __disable_irq();
  while (1)
  {
  }
}

/************************ (C) COPYRIGHT STMicroelectronics *****END OF FILE****/
